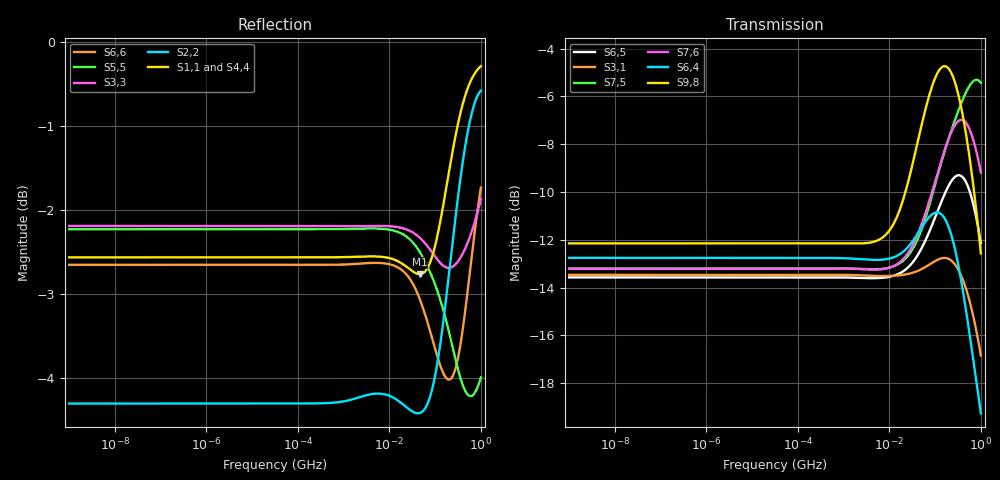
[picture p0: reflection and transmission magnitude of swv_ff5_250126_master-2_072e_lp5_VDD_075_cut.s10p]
! Touchstone file exported from Ansys Full-Wave Spice
! Project: 0000_PSI_S-parameter_Sweep
!  Design: unknown
! Creation time: Thu Jun 12 21:02:40 2025
! Notes: ! Touchstone(R) file created by SIwave 2025 R1
!  : ! Touchstone(R) file created on Thu Jun 12 21:02:40 2025
# HZ S RI R 0.1
! Modal data exported
! Port[1] = BGA1_BGA1_GRP_1_1_VDD_075_BGA1_GRP_1_1_VSS
! Port[2] = DIE1_DIE1_GRP_0_0_VDD_075_DIE1_GRP_0_0_VSS
! Port[3] = DIE1_DIE1_GRP_0_1_VDD_075_DIE1_GRP_0_1_VSS
! Port[4] = DIE1_DIE1_GRP_1_0_VDD_075_DIE1_GRP_1_0_VSS
! Port[5] = DIE1_DIE1_GRP_1_1_VDD_075_DIE1_GRP_1_1_VSS
! Port[6] = DIE1_DIE1_GRP_2_0_VDD_075_DIE1_GRP_2_0_VSS
! Port[7] = DIE1_DIE1_GRP_2_1_VDD_075_DIE1_GRP_2_1_VSS
! Port[8] = VDD_075_C37_2
! Port[9] = VDD_075_C38_2
! Port[10] = VDD_075_C78_2
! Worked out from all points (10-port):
!   420 points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, 1 Hz to 1 GHz, reference 0.1 ohm
!   strongest paths, dB at 1 Hz, 3.687 kHz, 11.66 MHz, 482.9 MHz, 1 GHz:
!     S9,8: -12.2, -12.2, -11.4, -7.7, -12.6
!     S6,4: -12.8, -12.8, -12.8, -15.1, -19.3
!     S7,6: -13.2, -13.2, -13.1, -7.1, -9.2
!     S7,5: -13.2, -13.2, -13.1, -5.8, -5.4
!     S3,1: -13.5, -13.5, -13.5, -14.1, -16.8
!     S6,5: -13.6, -13.6, -13.5, -9.6, -12.1
!   lowest |S11| = -2.8 dB at 46.42 MHz (marker M1), VSWR 6.34, Z = 0.0186 + j0.0418 ohm
!   |S11| at or under -10 dB: nowhere
